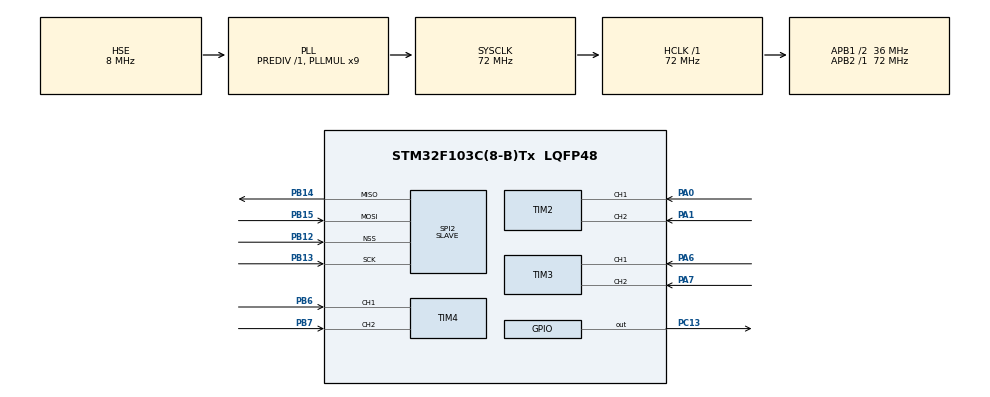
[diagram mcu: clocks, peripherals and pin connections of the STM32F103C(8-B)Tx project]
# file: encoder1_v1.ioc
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Dma.Request0=SPI2_TX
Dma.SPI2_TX.0.Direction=DMA_MEMORY_TO_PERIPH
Dma.SPI2_TX.0.Instance=DMA1_Channel5
Dma.SPI2_TX.0.MemDataAlignment=DMA_MDATAALIGN_BYTE
Dma.SPI2_TX.0.MemInc=DMA_MINC_ENABLE
Dma.SPI2_TX.0.Mode=DMA_CIRCULAR
Dma.SPI2_TX.0.PeriphDataAlignment=DMA_PDATAALIGN_BYTE
Dma.SPI2_TX.0.PeriphInc=DMA_PINC_DISABLE
Dma.SPI2_TX.0.Priority=DMA_PRIORITY_LOW
Mcu.Family=STM32F1
Mcu.Name=STM32F103C(8-B)Tx
Mcu.Package=LQFP48
NVIC.DMA1_Channel5_IRQn=true\:0\:0\:false\:false\:true\:false\:true\:true
NVIC.PriorityGroup=NVIC_PRIORITYGROUP_4
PA0-WKUP.GPIO_PuPd=GPIO_PULLUP
PA0-WKUP.Signal=S_TIM2_CH1_ETR
PA1.GPIO_PuPd=GPIO_PULLUP
PA1.Signal=S_TIM2_CH2
PA13.Mode=Serial_Wire
PA13.Signal=SYS_JTMS-SWDIO
PA14.Mode=Serial_Wire
PA14.Signal=SYS_JTCK-SWCLK
PA6.GPIO_PuPd=GPIO_PULLUP
PA6.Signal=S_TIM3_CH1
PA7.GPIO_PuPd=GPIO_PULLUP
PA7.Signal=S_TIM3_CH2
PB12.Mode=NSS_Signal_Hard_Input
PB12.Signal=SPI2_NSS
PB13.Mode=Full_Duplex_Slave
PB13.Signal=SPI2_SCK
PB14.Mode=Full_Duplex_Slave
PB14.Signal=SPI2_MISO
PB15.Mode=Full_Duplex_Slave
PB15.Signal=SPI2_MOSI
PB6.GPIO_PuPd=GPIO_PULLUP
PB6.Signal=S_TIM4_CH1
PB7.GPIO_PuPd=GPIO_PULLUP
PB7.Signal=S_TIM4_CH2
PC13-TAMPER-RTC.Signal=GPIO_Output
PD0-OSC_IN.Mode=HSE-External-Oscillator
PD0-OSC_IN.Signal=RCC_OSC_IN
PD1-OSC_OUT.Mode=HSE-External-Oscillator
PD1-OSC_OUT.Signal=RCC_OSC_OUT
ProjectManager.HeapSize=0x200
ProjectManager.StackSize=0x400
ProjectManager.TargetToolchain=STM32CubeIDE
RCC.AHBFreq_Value=72000000
RCC.APB1CLKDivider=RCC_HCLK_DIV2
RCC.APB1Freq_Value=36000000
RCC.APB1TimFreq_Value=72000000
RCC.APB2Freq_Value=72000000
RCC.APB2TimFreq_Value=72000000
RCC.HCLKFreq_Value=72000000
RCC.PLLMUL=RCC_PLL_MUL9
RCC.PLLSourceVirtual=RCC_PLLSOURCE_HSE
RCC.SYSCLKFreq_VALUE=72000000
RCC.SYSCLKSource=RCC_SYSCLKSOURCE_PLLCLK
RCC.USBFreq_Value=72000000
SH.S_TIM2_CH1_ETR.0=TIM2_CH1,Encoder_Interface
SH.S_TIM2_CH2.0=TIM2_CH2,Encoder_Interface
SH.S_TIM3_CH1.0=TIM3_CH1,Encoder_Interface
SH.S_TIM3_CH2.0=TIM3_CH2,Encoder_Interface
SH.S_TIM4_CH1.0=TIM4_CH1,Encoder_Interface
SH.S_TIM4_CH2.0=TIM4_CH2,Encoder_Interface
SPI2.CRCCalculation=SPI_CRCCALCULATION_DISABLE
SPI2.DataSize=SPI_DATASIZE_8BIT
SPI2.Direction=SPI_DIRECTION_2LINES
SPI2.Mode=SPI_MODE_SLAVE
SPI2.VirtualNSS=VM_NSSHARD
SPI2.VirtualType=VM_SLAVE
board=custom

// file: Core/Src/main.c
/* USER CODE BEGIN Header */
/**
  ******************************************************************************
  * @file           : main.c
  * @brief          : Main program body
  ******************************************************************************
  * @attention
  *
  * Copyright (c) 2026 STMicroelectronics.
  * All rights reserved.
  *
  * This software is licensed under terms that can be found in the LICENSE file
  * in the root directory of this software component.
  * If no LICENSE file comes with this software, it is provided AS-IS.
  *
  ******************************************************************************
  */
/* USER CODE END Header */
#include "main.h"

SPI_HandleTypeDef hspi2;
DMA_HandleTypeDef hdma_spi2_tx;

TIM_HandleTypeDef htim2;
TIM_HandleTypeDef htim3;
TIM_HandleTypeDef htim4;

/* USER CODE BEGIN PV */
volatile uint8_t SPI_txBuffer[6] = {0};

uint8_t dummy[6];

/* USER CODE END PV */

void SystemClock_Config(void);
static void MX_GPIO_Init(void);
static void MX_DMA_Init(void);
static void MX_TIM2_Init(void);
static void MX_TIM3_Init(void);
static void MX_TIM4_Init(void);
static void MX_SPI2_Init(void);

/* USER CODE BEGIN 0 */

HAL_SPI_TxRxCpltCallback(SPI_HandleTypeDef *hspi) {

	uint16_t e0 = TIM2->CNT;
	uint16_t e1 = TIM3->CNT;
	uint16_t e2 = TIM4->CNT;
	SPI_txBuffer[0] = e0 >> 8;
	SPI_txBuffer[1] = e0 & 0xFF;
	SPI_txBuffer[2] = e1 >> 8;
	SPI_txBuffer[3] = e1 & 0xFF;
	SPI_txBuffer[4] = e2 >> 8;
	SPI_txBuffer[5] = e2 & 0xFF;

	HAL_SPI_TransmitReceive_DMA(&hspi2, SPI_txBuffer, dummy, sizeof(dummy));
}

/* USER CODE END 0 */

int main(void)
{

  /* MCU Configuration--------------------------------------------------------*/

  /* Reset of all peripherals, Initializes the Flash interface and the Systick. */
  HAL_Init();

  /* Configure the system clock */
  SystemClock_Config();

  /* Initialize all configured peripherals */
  MX_GPIO_Init();
  MX_DMA_Init();
  MX_TIM2_Init();
  MX_TIM3_Init();
  MX_TIM4_Init();
  MX_SPI2_Init();
  /* USER CODE BEGIN 2 */
  HAL_TIM_Encoder_Start(&htim2, TIM_CHANNEL_ALL);
  HAL_TIM_Encoder_Start(&htim3, TIM_CHANNEL_ALL);
  HAL_TIM_Encoder_Start(&htim4, TIM_CHANNEL_ALL);

  uint16_t e0 = TIM2->CNT;
  uint16_t e1 = TIM3->CNT;
  uint16_t e2 = TIM4->CNT;

  SPI_txBuffer[0] = e0 >> 8;
  SPI_txBuffer[1] = e0 & 0xFF;
  SPI_txBuffer[2] = e1 >> 8;
  SPI_txBuffer[3] = e1 & 0xFF;
  SPI_txBuffer[4] = e2 >> 8;
  SPI_txBuffer[5] = e2 & 0xFF;

  HAL_SPI_TxRxCpltCallback(&hspi2);

//  HAL_SPI_Transmit_DMA(&hspi2, SPI_txBuffer, sizeof(SPI_txBuffer));
//  HAL_SPI_TransmitReceive_DMA(&hspi2, SPI_txBuffer, dummy, sizeof(dummy));

  HAL_GPIO_WritePin(GPIOC, GPIO_PIN_13, GPIO_PIN_RESET);

  /* USER CODE END 2 */

  /* Infinite loop */
  while (1)
  {

  }
}

void SystemClock_Config(void)
{
  RCC_OscInitTypeDef RCC_OscInitStruct = {0};
  RCC_ClkInitTypeDef RCC_ClkInitStruct = {0};

  /** Initializes the RCC Oscillators according to the specified parameters
  * in the RCC_OscInitTypeDef structure.
  */
  RCC_OscInitStruct.OscillatorType = RCC_OSCILLATORTYPE_HSE;
  RCC_OscInitStruct.HSEState = RCC_HSE_ON;
  RCC_OscInitStruct.HSEPredivValue = RCC_HSE_PREDIV_DIV1;
  RCC_OscInitStruct.HSIState = RCC_HSI_ON;
  RCC_OscInitStruct.PLL.PLLState = RCC_PLL_ON;
  RCC_OscInitStruct.PLL.PLLSource = RCC_PLLSOURCE_HSE;
  RCC_OscInitStruct.PLL.PLLMUL = RCC_PLL_MUL9;
  if (HAL_RCC_OscConfig(&RCC_OscInitStruct) != HAL_OK)
  {
    Error_Handler();
  }

  /** Initializes the CPU, AHB and APB buses clocks
  */
  RCC_ClkInitStruct.ClockType = RCC_CLOCKTYPE_HCLK|RCC_CLOCKTYPE_SYSCLK
                              |RCC_CLOCKTYPE_PCLK1|RCC_CLOCKTYPE_PCLK2;
  RCC_ClkInitStruct.SYSCLKSource = RCC_SYSCLKSOURCE_PLLCLK;
  RCC_ClkInitStruct.AHBCLKDivider = RCC_SYSCLK_DIV1;
  RCC_ClkInitStruct.APB1CLKDivider = RCC_HCLK_DIV2;
  RCC_ClkInitStruct.APB2CLKDivider = RCC_HCLK_DIV1;

  if (HAL_RCC_ClockConfig(&RCC_ClkInitStruct, FLASH_LATENCY_2) != HAL_OK)
  {
    Error_Handler();
  }
}

static void MX_SPI2_Init(void)
{

  /* SPI2 parameter configuration*/
  hspi2.Instance = SPI2;
  hspi2.Init.Mode = SPI_MODE_SLAVE;
  hspi2.Init.Direction = SPI_DIRECTION_2LINES;
  hspi2.Init.DataSize = SPI_DATASIZE_8BIT;
  hspi2.Init.CLKPolarity = SPI_POLARITY_LOW;
  hspi2.Init.CLKPhase = SPI_PHASE_1EDGE;
  hspi2.Init.NSS = SPI_NSS_HARD_INPUT;
  hspi2.Init.FirstBit = SPI_FIRSTBIT_MSB;
  hspi2.Init.TIMode = SPI_TIMODE_DISABLE;
  hspi2.Init.CRCCalculation = SPI_CRCCALCULATION_DISABLE;
  hspi2.Init.CRCPolynomial = 10;
  if (HAL_SPI_Init(&hspi2) != HAL_OK)
  {
    Error_Handler();
  }

}

static void MX_TIM2_Init(void)
{

  TIM_Encoder_InitTypeDef sConfig = {0};
  TIM_MasterConfigTypeDef sMasterConfig = {0};

  htim2.Instance = TIM2;
  htim2.Init.Prescaler = 0;
  htim2.Init.CounterMode = TIM_COUNTERMODE_UP;
  htim2.Init.Period = 65535;
  htim2.Init.ClockDivision = TIM_CLOCKDIVISION_DIV1;
  htim2.Init.AutoReloadPreload = TIM_AUTORELOAD_PRELOAD_DISABLE;
  sConfig.EncoderMode = TIM_ENCODERMODE_TI1;
  sConfig.IC1Polarity = TIM_ICPOLARITY_RISING;
  sConfig.IC1Selection = TIM_ICSELECTION_DIRECTTI;
  sConfig.IC1Prescaler = TIM_ICPSC_DIV1;
  sConfig.IC1Filter = 0;
  sConfig.IC2Polarity = TIM_ICPOLARITY_RISING;
  sConfig.IC2Selection = TIM_ICSELECTION_DIRECTTI;
  sConfig.IC2Prescaler = TIM_ICPSC_DIV1;
  sConfig.IC2Filter = 0;
  if (HAL_TIM_Encoder_Init(&htim2, &sConfig) != HAL_OK)
  {
    Error_Handler();
  }
  sMasterConfig.MasterOutputTrigger = TIM_TRGO_RESET;
  sMasterConfig.MasterSlaveMode = TIM_MASTERSLAVEMODE_DISABLE;
  if (HAL_TIMEx_MasterConfigSynchronization(&htim2, &sMasterConfig) != HAL_OK)
  {
    Error_Handler();
  }

}

static void MX_TIM3_Init(void)
{

  TIM_Encoder_InitTypeDef sConfig = {0};
  TIM_MasterConfigTypeDef sMasterConfig = {0};

  htim3.Instance = TIM3;
  htim3.Init.Prescaler = 0;
  htim3.Init.CounterMode = TIM_COUNTERMODE_UP;
  htim3.Init.Period = 65535;
  htim3.Init.ClockDivision = TIM_CLOCKDIVISION_DIV1;
  htim3.Init.AutoReloadPreload = TIM_AUTORELOAD_PRELOAD_DISABLE;
  sConfig.EncoderMode = TIM_ENCODERMODE_TI1;
  sConfig.IC1Polarity = TIM_ICPOLARITY_RISING;
  sConfig.IC1Selection = TIM_ICSELECTION_DIRECTTI;
  sConfig.IC1Prescaler = TIM_ICPSC_DIV1;
  sConfig.IC1Filter = 0;
  sConfig.IC2Polarity = TIM_ICPOLARITY_RISING;
  sConfig.IC2Selection = TIM_ICSELECTION_DIRECTTI;
  sConfig.IC2Prescaler = TIM_ICPSC_DIV1;
  sConfig.IC2Filter = 0;
  if (HAL_TIM_Encoder_Init(&htim3, &sConfig) != HAL_OK)
  {
    Error_Handler();
  }
  sMasterConfig.MasterOutputTrigger = TIM_TRGO_RESET;
  sMasterConfig.MasterSlaveMode = TIM_MASTERSLAVEMODE_DISABLE;
  if (HAL_TIMEx_MasterConfigSynchronization(&htim3, &sMasterConfig) != HAL_OK)
  {
    Error_Handler();
  }

}

static void MX_TIM4_Init(void)
{

  TIM_Encoder_InitTypeDef sConfig = {0};
  TIM_MasterConfigTypeDef sMasterConfig = {0};

  htim4.Instance = TIM4;
  htim4.Init.Prescaler = 0;
  htim4.Init.CounterMode = TIM_COUNTERMODE_UP;
  htim4.Init.Period = 65535;
  htim4.Init.ClockDivision = TIM_CLOCKDIVISION_DIV1;
  htim4.Init.AutoReloadPreload = TIM_AUTORELOAD_PRELOAD_DISABLE;
  sConfig.EncoderMode = TIM_ENCODERMODE_TI1;
  sConfig.IC1Polarity = TIM_ICPOLARITY_RISING;
  sConfig.IC1Selection = TIM_ICSELECTION_DIRECTTI;
  sConfig.IC1Prescaler = TIM_ICPSC_DIV1;
  sConfig.IC1Filter = 0;
  sConfig.IC2Polarity = TIM_ICPOLARITY_RISING;
  sConfig.IC2Selection = TIM_ICSELECTION_DIRECTTI;
  sConfig.IC2Prescaler = TIM_ICPSC_DIV1;
  sConfig.IC2Filter = 0;
  if (HAL_TIM_Encoder_Init(&htim4, &sConfig) != HAL_OK)
  {
    Error_Handler();
  }
  sMasterConfig.MasterOutputTrigger = TIM_TRGO_RESET;
  sMasterConfig.MasterSlaveMode = TIM_MASTERSLAVEMODE_DISABLE;
  if (HAL_TIMEx_MasterConfigSynchronization(&htim4, &sMasterConfig) != HAL_OK)
  {
    Error_Handler();
  }

}

static void MX_DMA_Init(void)
{

  /* DMA controller clock enable */
  __HAL_RCC_DMA1_CLK_ENABLE();

  /* DMA interrupt init */
  /* DMA1_Channel5_IRQn interrupt configuration */
  HAL_NVIC_SetPriority(DMA1_Channel5_IRQn, 0, 0);
  HAL_NVIC_EnableIRQ(DMA1_Channel5_IRQn);

}

static void MX_GPIO_Init(void)
{
  GPIO_InitTypeDef GPIO_InitStruct = {0};

  /* GPIO Ports Clock Enable */
  __HAL_RCC_GPIOC_CLK_ENABLE();
  __HAL_RCC_GPIOD_CLK_ENABLE();
  __HAL_RCC_GPIOA_CLK_ENABLE();
  __HAL_RCC_GPIOB_CLK_ENABLE();

  /*Configure GPIO pin Output Level */
  HAL_GPIO_WritePin(GPIOC, GPIO_PIN_13, GPIO_PIN_RESET);

  /*Configure GPIO pin : PC13 */
  GPIO_InitStruct.Pin = GPIO_PIN_13;
  GPIO_InitStruct.Mode = GPIO_MODE_OUTPUT_PP;
  GPIO_InitStruct.Pull = GPIO_NOPULL;
  GPIO_InitStruct.Speed = GPIO_SPEED_FREQ_LOW;
  HAL_GPIO_Init(GPIOC, &GPIO_InitStruct);

}

void Error_Handler(void)
{
  __disable_irq();
  while (1)
  {
  }
}
